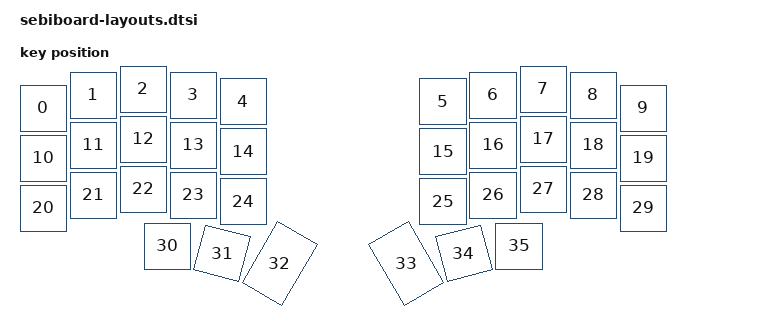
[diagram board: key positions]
#include <physical_layouts.dtsi>

/ {
    physical_layout0: physical_layout_0 {
        compatible = "zmk,physical-layout";
        display-name = "LAYOUT";

        kscan = <&kscan0>;
        transform = <&matrix_transform>;

        keys  //                     w   h    x    y     rot    rx    ry
            = <&key_physical_attrs 100 100    0   38       0     0     0>
            , <&key_physical_attrs 100 100  100   12       0     0     0>
            , <&key_physical_attrs 100 100  200    0       0     0     0>
            , <&key_physical_attrs 100 100  300   12       0     0     0>
            , <&key_physical_attrs 100 100  400   25       0     0     0>
            , <&key_physical_attrs 100 100  800   25       0     0     0>
            , <&key_physical_attrs 100 100  900   12       0     0     0>
            , <&key_physical_attrs 100 100 1000    0       0     0     0>
            , <&key_physical_attrs 100 100 1100   12       0     0     0>
            , <&key_physical_attrs 100 100 1200   38       0     0     0>
            , <&key_physical_attrs 100 100    0  138       0     0     0>
            , <&key_physical_attrs 100 100  100  112       0     0     0>
            , <&key_physical_attrs 100 100  200  100       0     0     0>
            , <&key_physical_attrs 100 100  300  112       0     0     0>
            , <&key_physical_attrs 100 100  400  125       0     0     0>
            , <&key_physical_attrs 100 100  800  125       0     0     0>
            , <&key_physical_attrs 100 100  900  112       0     0     0>
            , <&key_physical_attrs 100 100 1000  100       0     0     0>
            , <&key_physical_attrs 100 100 1100  112       0     0     0>
            , <&key_physical_attrs 100 100 1200  138       0     0     0>
            , <&key_physical_attrs 100 100    0  238       0     0     0>
            , <&key_physical_attrs 100 100  100  212       0     0     0>
            , <&key_physical_attrs 100 100  200  200       0     0     0>
            , <&key_physical_attrs 100 100  300  212       0     0     0>
            , <&key_physical_attrs 100 100  400  225       0     0     0>
            , <&key_physical_attrs 100 100  800  225       0     0     0>
            , <&key_physical_attrs 100 100  900  212       0     0     0>
            , <&key_physical_attrs 100 100 1000  200       0     0     0>
            , <&key_physical_attrs 100 100 1100  212       0     0     0>
            , <&key_physical_attrs 100 100 1200  238       0     0     0>
            , <&key_physical_attrs 100 100  248  314       0     0     0>
            , <&key_physical_attrs 100 100  248  314    1500   298   790>
            , <&key_physical_attrs 100 150  248  264    3000   298   790>
            , <&key_physical_attrs 100 150  952  264 (-3000)  1002   790>
            , <&key_physical_attrs 100 100  952  314 (-1500)  1002   790>
            , <&key_physical_attrs 100 100  952  314       0     0     0>
            ;
    };
};
